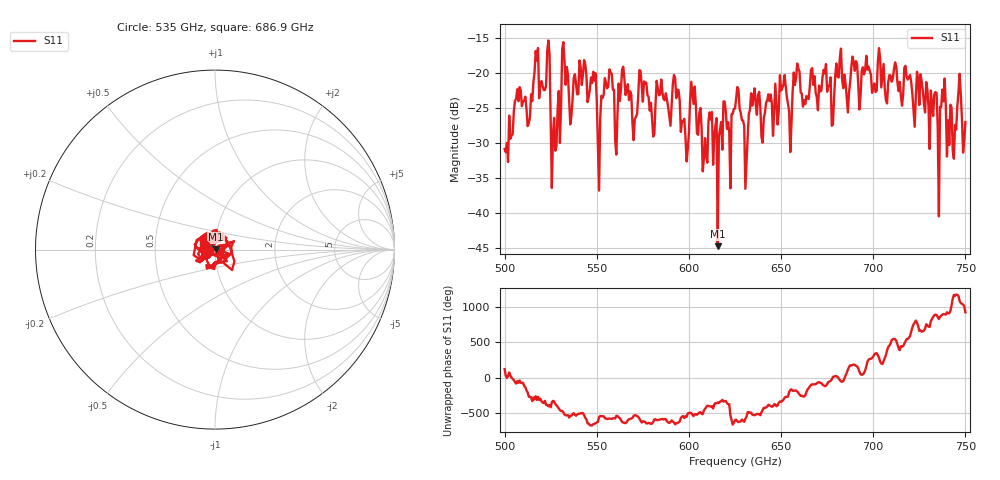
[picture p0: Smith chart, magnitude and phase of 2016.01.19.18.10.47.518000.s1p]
!Created with skrf (http://scikit-rf.org).
# GHz S RI R 50.0
!freq ReS11 ImS11
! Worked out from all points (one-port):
!   401 points, 500 GHz to 750 GHz, reference 50 ohm
!   lowest |S11| = -44.8 dB at 615.6 GHz (marker M1), VSWR 1.01, Z = 50.6 + j0.11 ohm
!   |S11| at or under -10 dB: start of sweep to end of sweep
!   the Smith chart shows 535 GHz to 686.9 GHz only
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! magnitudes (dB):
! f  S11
! 500 GHz  -30.9
! 507.5 GHz  -24.1
! 513.8 GHz  -26.4
! 516.9 GHz  -16.9
! 523.1 GHz  -16.9
! 526.9 GHz  -26.5
! 531.2 GHz  -16.6
! 548.1 GHz  -19.9
! 551.2 GHz  -36.8
! 555.6 GHz  -22.2
! 560 GHz  -29.7
! 562.5 GHz  -24.1
! 570.6 GHz  -26.6
! 574.4 GHz  -21.8
! 580 GHz  -26.6
! 593.8 GHz  -22.4
! 598.8 GHz  -32.7
! 601.9 GHz  -22.9
! 608.8 GHz  -29.3
! 615.6 GHz  -44.8
! 625 GHz  -25.1
! 630.6 GHz  -36.6
! 635 GHz  -23.6
! 656.2 GHz  -22.8
! 658.1 GHz  -20.8
! 687.5 GHz  -21.3
! 718.8 GHz  -21.0
! 750 GHz  -27.1
